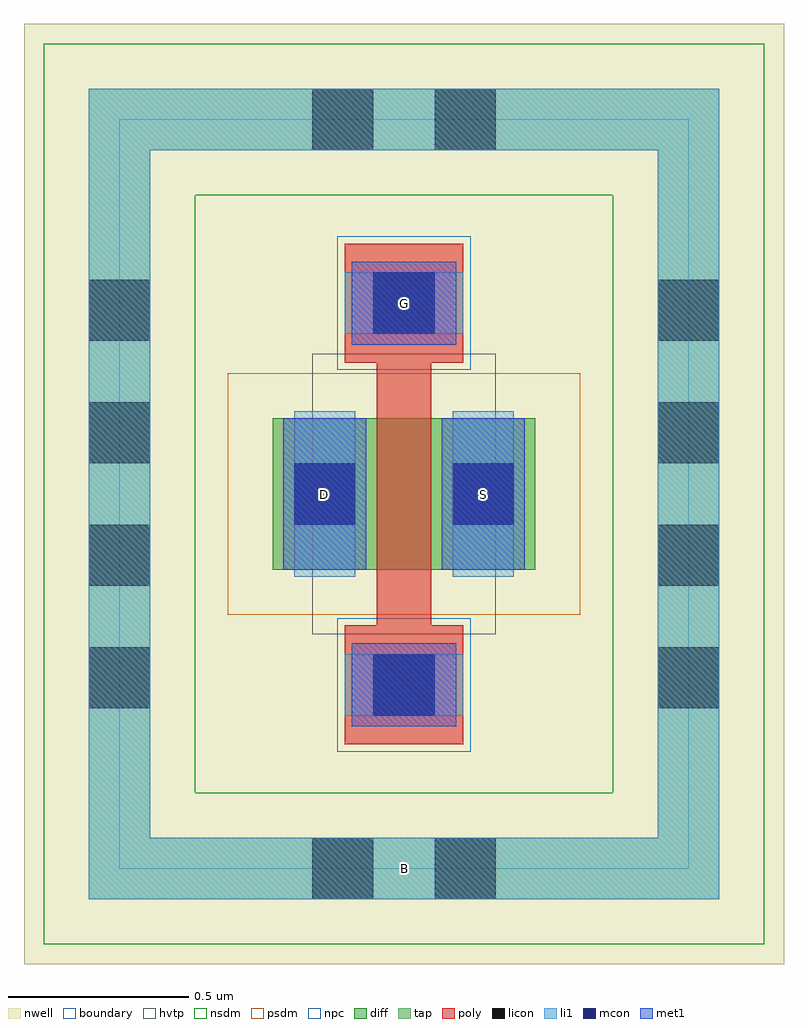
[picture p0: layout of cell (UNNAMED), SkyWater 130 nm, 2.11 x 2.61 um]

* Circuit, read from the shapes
.subckt (UNNAMED) B D G S
XM1 S G D B sky130_fd_pr__pfet_01v8_hvt w=0.42 l=0.15
.ends

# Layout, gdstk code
import gdstk
lib = gdstk.Library(unit=1e-6, precision=1e-09)
def R(c, l, rs):  # rectangles x0, y0, x1, y1
    for r in rs: c.add(gdstk.rectangle(r[:2], r[2:], *l))
def A(c, l, x, y, w, h, nx, ny, dx, dy):  # array of equal rectangles
    R(c, l, [(x+i*dx, y+j*dy, x+i*dx+w, y+j*dy+h) for i in range(nx) for j in range(ny)])
nwell = (64, 20)
diff = (65, 20)
tap = (65, 44)
poly = (66, 20)
licon = (66, 44)
li1 = (67, 20)
mcon = (67, 44)
met1 = (68, 20)
hvtp = (78, 44)
nsdm = (93, 44)
psdm = (94, 20)
npc = (95, 20)
boundary = (235, 4)

c__unnamed_ = lib.new_cell('(UNNAMED)')
R(c__unnamed_, nwell, [(-1.055,-1.305,1.055,1.305)])
R(c__unnamed_, diff, [(-0.365,-0.21,0.365,0.21)])
R(c__unnamed_, tap, [(-0.875,-1.125,0.875,-0.955), (-0.875,-0.955,-0.705,0.955), (0.705,-0.955,0.875,0.955), (-0.875,0.955,0.875,1.125)])
R(c__unnamed_, poly, [(-0.165,-0.695,0.165,-0.365), (-0.075,-0.365,0.075,0.365), (-0.165,0.365,0.165,0.695)])
A(c__unnamed_, licon, -0.875, -0.595, 0.17, 0.17, 1, 4, 0, 0.34)
A(c__unnamed_, licon, 0.705, -0.595, 0.17, 0.17, 1, 4, 0, 0.34)
R(c__unnamed_, licon, [(-0.255,-1.125,-0.085,-0.955), (0.085,-1.125,0.255,-0.955), (-0.085,-0.615,0.085,-0.445), (-0.305,-0.085,-0.135,0.085), (0.135,-0.085,0.305,0.085), (-0.085,0.445,0.085,0.615), (-0.255,0.955,-0.085,1.125), (0.085,0.955,0.255,1.125)])
R(c__unnamed_, li1, [(-0.875,-1.125,0.875,-0.955), (-0.875,-0.955,-0.705,0.955), (0.705,-0.955,0.875,0.955), (-0.165,-0.615,0.165,-0.445), (-0.305,-0.23,-0.135,0.23), (0.135,-0.23,0.305,0.23), (-0.165,0.445,0.165,0.615), (-0.875,0.955,0.875,1.125)])
R(c__unnamed_, mcon, [(-0.085,-0.615,0.085,-0.445), (-0.305,-0.085,-0.135,0.085), (0.135,-0.085,0.305,0.085), (-0.085,0.445,0.085,0.615)])
R(c__unnamed_, met1, [(-0.145,-0.645,0.145,-0.415), (-0.335,-0.21,-0.105,0.21), (0.105,-0.21,0.335,0.21), (-0.145,0.415,0.145,0.645)])
R(c__unnamed_, hvtp, [(-0.255,-0.39,0.255,0.39)])
R(c__unnamed_, nsdm, [(-1,-1.25,1,-0.83), (-1,-0.83,-0.58,0.83), (0.58,-0.83,1,0.83), (-1,0.83,1,1.25)])
R(c__unnamed_, psdm, [(-0.49,-0.335,0.49,0.335)])
R(c__unnamed_, npc, [(-0.185,-0.715,0.185,-0.345), (-0.185,0.345,0.185,0.715)])
R(c__unnamed_, boundary, [(-0.79,-1.04,0.79,1.04)])
c__unnamed_.add(gdstk.Label('B', (0,-1.04), layer=67, texttype=5))
c__unnamed_.add(gdstk.Label('D', (-0.22,0), layer=67, texttype=5))
c__unnamed_.add(gdstk.Label('S', (0.22,0), layer=67, texttype=5))
c__unnamed_.add(gdstk.Label('G', (0,0.53), layer=67, texttype=5))

lib.write_gds('_UNNAMED_.gds')
